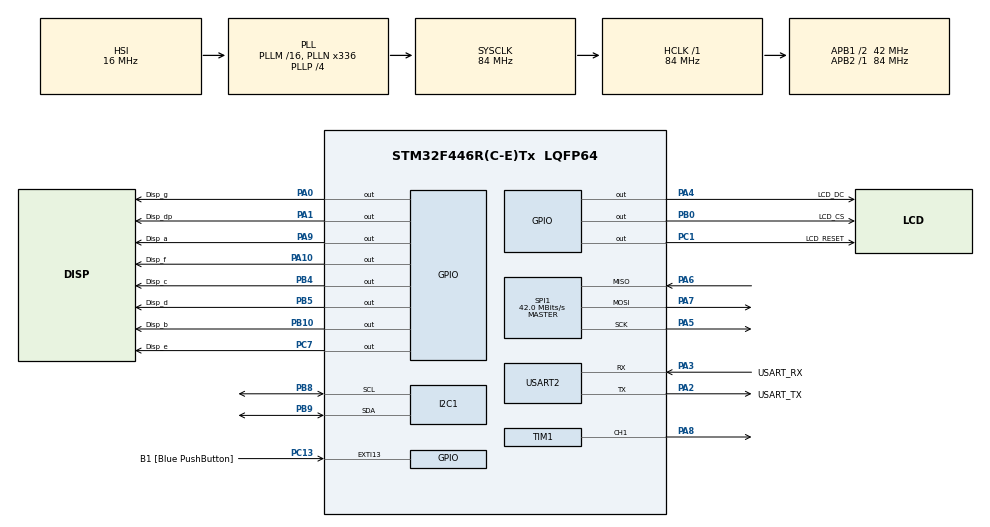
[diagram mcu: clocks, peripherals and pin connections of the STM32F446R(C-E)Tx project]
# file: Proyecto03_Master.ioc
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Dma.Request0=SPI1_TX
Dma.Request1=TIM1_CH1
Dma.SPI1_TX.0.Direction=DMA_MEMORY_TO_PERIPH
Dma.SPI1_TX.0.FIFOMode=DMA_FIFOMODE_DISABLE
Dma.SPI1_TX.0.Instance=DMA2_Stream3
Dma.SPI1_TX.0.MemDataAlignment=DMA_MDATAALIGN_BYTE
Dma.SPI1_TX.0.MemInc=DMA_MINC_ENABLE
Dma.SPI1_TX.0.Mode=DMA_NORMAL
Dma.SPI1_TX.0.PeriphDataAlignment=DMA_PDATAALIGN_BYTE
Dma.SPI1_TX.0.PeriphInc=DMA_PINC_DISABLE
Dma.SPI1_TX.0.Priority=DMA_PRIORITY_LOW
Dma.TIM1_CH1.1.Direction=DMA_MEMORY_TO_PERIPH
Dma.TIM1_CH1.1.FIFOMode=DMA_FIFOMODE_DISABLE
Dma.TIM1_CH1.1.Instance=DMA2_Stream1
Dma.TIM1_CH1.1.MemDataAlignment=DMA_MDATAALIGN_HALFWORD
Dma.TIM1_CH1.1.MemInc=DMA_MINC_ENABLE
Dma.TIM1_CH1.1.Mode=DMA_NORMAL
Dma.TIM1_CH1.1.PeriphDataAlignment=DMA_PDATAALIGN_HALFWORD
Dma.TIM1_CH1.1.PeriphInc=DMA_PINC_DISABLE
Dma.TIM1_CH1.1.Priority=DMA_PRIORITY_LOW
I2C1.OwnAddress=0x27
Mcu.Family=STM32F4
Mcu.Name=STM32F446R(C-E)Tx
Mcu.Package=LQFP64
NVIC.DMA2_Stream1_IRQn=true\:0\:0\:false\:false\:true\:false\:true\:true
NVIC.DMA2_Stream3_IRQn=true\:0\:0\:false\:false\:true\:false\:true\:true
NVIC.I2C1_ER_IRQn=true\:0\:0\:false\:false\:true\:true\:true\:true
NVIC.I2C1_EV_IRQn=true\:0\:0\:false\:false\:true\:true\:true\:true
NVIC.PriorityGroup=NVIC_PRIORITYGROUP_0
NVIC.SPI1_IRQn=true\:0\:0\:false\:false\:true\:true\:true\:true
NVIC.USART2_IRQn=true\:0\:0\:false\:false\:true\:true\:true\:true
PA0-WKUP.GPIO_Label=Disp_g
PA0-WKUP.Signal=GPIO_Output
PA1.GPIO_Label=Disp_dp
PA1.Signal=GPIO_Output
PA10.GPIO_Label=Disp_f
PA10.Signal=GPIO_Output
PA13.GPIO_Label=TMS
PA13.Mode=Serial_Wire
PA13.Signal=SYS_JTMS-SWDIO
PA14.GPIO_Label=TCK
PA14.Mode=Serial_Wire
PA14.Signal=SYS_JTCK-SWCLK
PA2.GPIO_Label=USART_TX
PA2.Mode=Asynchronous
PA2.Signal=USART2_TX
PA3.GPIO_Label=USART_RX
PA3.Mode=Asynchronous
PA3.Signal=USART2_RX
PA4.GPIO_Label=LCD_DC
PA4.GPIO_Speed=GPIO_SPEED_FREQ_MEDIUM
PA4.Signal=GPIO_Output
PA5.Mode=Full_Duplex_Master
PA5.Signal=SPI1_SCK
PA6.Mode=Full_Duplex_Master
PA6.Signal=SPI1_MISO
PA7.Mode=Full_Duplex_Master
PA7.Signal=SPI1_MOSI
PA8.Signal=S_TIM1_CH1
PA9.GPIO_Label=Disp_a
PA9.Signal=GPIO_Output
PB0.GPIO_Label=LCD_CS
PB0.GPIO_Speed=GPIO_SPEED_FREQ_MEDIUM
PB0.PinState=GPIO_PIN_SET
PB0.Signal=GPIO_Output
PB10.GPIO_Label=Disp_b
PB10.Signal=GPIO_Output
PB3.GPIO_Label=SWO
PB3.Signal=SYS_JTDO-SWO
PB4.GPIO_Label=Disp_c
PB4.Signal=GPIO_Output
PB5.GPIO_Label=Disp_d
PB5.Signal=GPIO_Output
PB8.Mode=I2C
PB8.Signal=I2C1_SCL
PB9.Mode=I2C
PB9.Signal=I2C1_SDA
PC1.GPIO_Label=LCD_RESET
PC1.GPIO_Speed=GPIO_SPEED_FREQ_MEDIUM
PC1.Signal=GPIO_Output
PC13.GPIO_Label=B1 [Blue PushButton]
PC13.GPIO_ModeDefaultEXTI=GPIO_MODE_IT_FALLING
PC13.Signal=GPXTI13
PC14-OSC32_IN.Mode=LSE-External-Oscillator
PC14-OSC32_IN.Signal=RCC_OSC32_IN
PC15-OSC32_OUT.Mode=LSE-External-Oscillator
PC15-OSC32_OUT.Signal=RCC_OSC32_OUT
PC7.GPIO_Label=Disp_e
PC7.Signal=GPIO_Output
PH0-OSC_IN.Mode=HSE-External-Oscillator
PH0-OSC_IN.Signal=RCC_OSC_IN
PH1-OSC_OUT.Mode=HSE-External-Oscillator
PH1-OSC_OUT.Signal=RCC_OSC_OUT
ProjectManager.HeapSize=0x200
ProjectManager.StackSize=0x400
ProjectManager.TargetToolchain=STM32CubeIDE
RCC.48MHZClocksFreq_Value=84000000
RCC.AHBFreq_Value=84000000
RCC.APB1CLKDivider=RCC_HCLK_DIV2
RCC.APB1Freq_Value=42000000
RCC.APB1TimFreq_Value=84000000
RCC.APB2Freq_Value=84000000
RCC.APB2TimFreq_Value=84000000
RCC.CortexFreq_Value=84000000
RCC.FLatency-AdvancedSettings=FLASH_LATENCY_2
RCC.HCLKFreq_Value=84000000
RCC.HSE_VALUE=8000000
RCC.HSI_VALUE=16000000
RCC.PLLN=336
RCC.PLLP=RCC_PLLP_DIV4
RCC.SYSCLKFreq_VALUE=84000000
RCC.SYSCLKSource=RCC_SYSCLKSOURCE_PLLCLK
RCC.USBFreq_Value=168000000
RCC.VCOOutputFreq_Value=336000000
SH.S_TIM1_CH1.0=TIM1_CH1,PWM Generation1 CH1
SPI1.CalculateBaudRate=42.0 MBits/s
SPI1.Direction=SPI_DIRECTION_2LINES
SPI1.Mode=SPI_MODE_MASTER
SPI1.VirtualType=VM_MASTER
TIM1.Channel-PWM\ Generation1\ CH1=TIM_CHANNEL_1
TIM1.Period=105-1
TIM1.Prescaler=1-1
USART2.VirtualMode=VM_ASYNC
VP_TIM1_VS_ClockSourceINT.Mode=Internal
board=NUCLEO-F446RE

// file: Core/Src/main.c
/* USER CODE BEGIN Header */
/**
  ******************************************************************************
  * @file           : main.c
  * @brief          : Main program body
  ******************************************************************************
  * @attention
  *
  * Copyright (c) 2026 STMicroelectronics.
  * All rights reserved.
  *
  * This software is licensed under terms that can be found in the LICENSE file
  * in the root directory of this software component.
  * If no LICENSE file comes with this software, it is provided AS-IS.
  *
  ******************************************************************************
  */
/* USER CODE END Header */
#include "main.h"

/* USER CODE BEGIN Includes */
#include "ili9341.h"
#include "bitmaps.h"
#include "Neopixel.h"
#include <stdio.h>
#include <stdlib.h>
/* USER CODE END Includes */

I2C_HandleTypeDef hi2c1;

SPI_HandleTypeDef hspi1;
DMA_HandleTypeDef hdma_spi1_tx;

TIM_HandleTypeDef htim1;
DMA_HandleTypeDef hdma_tim1_ch1;

UART_HandleTypeDef huart2;

/* USER CODE BEGIN PV */
// Estados lógicos del display
#define SEG_ON   GPIO_PIN_SET
#define SEG_OFF  GPIO_PIN_RESET

// Tamaño de buffers I2C
#define TXBUFFERSIZE 1
#define RXBUFFERSIZE 1

int count = 0;

// Buffers para comunicación I2C
uint8_t aTxBuffer[TXBUFFERSIZE];
uint8_t aRxBuffer[RXBUFFERSIZE];

// Estado recibido por I2C
volatile uint8_t sensor_byte_rx = 0;
volatile uint8_t i2c_rx_flag = 0;
uint8_t sensor_byte_prev = 0;

// Variables de prueba por UART
uint8_t ctrl_cmd2;
uint8_t rx_data2;

// Control del contador de parqueos
uint8_t show_num = 0;
uint8_t cont_parqueos = 8;

// Estado individual de cada parqueo
uint8_t car_state1 = 0;
uint8_t car_state2 = 0;
uint8_t car_state3 = 0;
uint8_t car_state4 = 0;
uint8_t car_state5 = 0;
uint8_t car_state6 = 0;
uint8_t car_state7 = 0;
uint8_t car_state8 = 0;

// Fondo principal de la TFT
extern const uint16_t fondo_parqueo[];

// Dimensiones de pantalla y fondo
#define LCD_W 320
#define LCD_H 240
#define FONDO_W 320
#define COLOR_TRANSPARENTE 0x738e

// Dimensiones de sprites
#define CARRO_AZUL1_W 36
#define CARRO_AZUL2_W 32
#define CARRO_AZUL3_W 25
#define CARRO_ROJO1_W 36
#define CARRO_ROJO2_W 33
#define CARRO_VERDE_W 48
#define LA_TROCONA_W 39
#define CARRO_H 60

// Buffer temporal para redibujado
#define CARRO_BUFFER_MAX_W 64
#define CARRO_BUFFER_MAX_H 100
uint16_t buffer_carro[CARRO_BUFFER_MAX_W * CARRO_BUFFER_MAX_H];

// Datos necesarios para animar un carro
typedef struct {
    int x;
    int y;
    int y_destino;
    int paso_y;

    int w;
    int h;

    const uint16_t *sprite;

    uint8_t activo;
    uint8_t visible;

    uint32_t tiempo_anterior;
    uint32_t periodo_ms;
} CarroAnimado;

// Carros asociados a los 8 espacios
CarroAnimado carro1;
CarroAnimado carro2;
CarroAnimado carro3;
CarroAnimado carro4;
CarroAnimado carro5;
CarroAnimado carro6;
CarroAnimado carro7;
CarroAnimado carro8;
/* USER CODE END PV */

void SystemClock_Config(void);
static void MX_GPIO_Init(void);
static void MX_DMA_Init(void);
static void MX_SPI1_Init(void);
static void MX_USART2_UART_Init(void);
static void MX_TIM1_Init(void);
static void MX_I2C1_Init(void);
/* USER CODE BEGIN PFP */
// Funciones agregadas para animación y parqueos
void IniciarCarro(CarroAnimado *c, int x, int y_inicio, int y_destino, int paso_y,
                  int w, int h, const uint16_t *sprite, uint32_t periodo_ms);
void ActualizarCarro(CarroAnimado *c);
void BorrarCarro(CarroAnimado *c);
void DibujarCarroCompuesto(CarroAnimado *c, int nueva_y);
void ProcesarCambioParqueo(uint8_t cmd);

/* USER CODE END PFP */

/* USER CODE BEGIN 0 */
// Restaura el fondo donde estaba el carro
void BorrarCarro(CarroAnimado *c)
{
    int x0 = c->x;
    int y0 = c->y;
    int x1 = c->x + c->w - 1;
    int y1 = c->y + c->h - 1;

    // Recorte contra pantalla
    if (x0 < 0) x0 = 0;
    if (y0 < 0) y0 = 0;
    if (x1 >= LCD_W) x1 = LCD_W - 1;
    if (y1 >= LCD_H) y1 = LCD_H - 1;

    if (x0 > x1 || y0 > y1) return;

    int bw = x1 - x0 + 1;
    int bh = y1 - y0 + 1;

    if (bw > CARRO_BUFFER_MAX_W || bh > CARRO_BUFFER_MAX_H) return;

    int k = 0;

    for (int py = y0; py <= y1; py++)
    {
        for (int px = x0; px <= x1; px++)
        {
            buffer_carro[k++] = fondo_parqueo[(py * FONDO_W) + px];
        }
    }

    LCD_Bitmap(x0, y0, bw, bh, buffer_carro);
}

// Redibuja solo el área afectada
void DibujarCarroCompuesto(CarroAnimado *c, int nueva_y)
{
    int vieja_y = c->y;

    // Área total a actualizar: posición vieja + posición nueva
    int x0 = c->x;
    int y0 = (vieja_y < nueva_y) ? vieja_y : nueva_y;

    int x1 = c->x + c->w - 1;

    int vieja_y_final = vieja_y + c->h - 1;
    int nueva_y_final = nueva_y + c->h - 1;
    int y1 = (vieja_y_final > nueva_y_final) ? vieja_y_final : nueva_y_final;

    // Recorte contra pantalla
    if (x0 < 0) x0 = 0;
    if (y0 < 0) y0 = 0;
    if (x1 >= LCD_W) x1 = LCD_W - 1;
    if (y1 >= LCD_H) y1 = LCD_H - 1;

    if (x0 > x1 || y0 > y1) return;

    int bw = x1 - x0 + 1;
    int bh = y1 - y0 + 1;

    if (bw > CARRO_BUFFER_MAX_W || bh > CARRO_BUFFER_MAX_H) return;

    int k = 0;

    for (int py = y0; py <= y1; py++)
    {
        for (int px = x0; px <= x1; px++)
        {
            // Primero se coloca el fondo
            uint16_t color = fondo_parqueo[(py * FONDO_W) + px];

            // Luego se revisa si este pixel cae dentro del carro nuevo
            int sx = px - c->x;
            int sy = py - nueva_y;

            if (sx >= 0 && sx < c->w && sy >= 0 && sy < c->h)
            {
                uint16_t pixel_sprite = c->sprite[(sy * c->w) + sx];

                if (pixel_sprite != COLOR_TRANSPARENTE)
                {
                    color = pixel_sprite;
                }
            }

            buffer_carro[k++] = color;
        }
    }

    // Una sola escritura a pantalla: fondo + carro ya mezclados
    LCD_Bitmap(x0, y0, bw, bh, buffer_carro);
}

// Configura una entrada o salida de carro
void IniciarCarro(CarroAnimado *c, int x, int y_inicio, int y_destino, int paso_y,
                  int w, int h, const uint16_t *sprite, uint32_t periodo_ms)
{
    if (c->visible)
    {
        BorrarCarro(c);
    }

    c->x = x;
    c->y = y_inicio;
    c->y_destino = y_destino;
    c->paso_y = paso_y;

    c->w = w;
    c->h = h;
    c->sprite = sprite;

    c->activo = 1;
    c->visible = 1;

    c->tiempo_anterior = HAL_GetTick();
    c->periodo_ms = periodo_ms;
}

// Avanza la animación por tiempo
void ActualizarCarro(CarroAnimado *c)
{
    if (!c->activo) return;

    uint32_t ahora = HAL_GetTick();

    if (ahora - c->tiempo_anterior < c->periodo_ms)
    {
        return;
    }

    c->tiempo_anterior = ahora;

    int nueva_y = c->y + c->paso_y;

    // Detener exactamente en la posición deseada
    if (c->paso_y > 0 && nueva_y >= c->y_destino)
    {
        nueva_y = c->y_destino;
        c->activo = 0;
    }
    else if (c->paso_y < 0 && nueva_y <= c->y_destino)
    {
        nueva_y = c->y_destino;
        c->activo = 0;
    }

    DibujarCarroCompuesto(c, nueva_y);

    c->y = nueva_y;
}

// Aplica el cambio de estado de un parqueo
void ProcesarCambioParqueo(uint8_t cmd)
{
    switch(cmd)
	    	    {
	    	        case '1':
	    	            if (car_state1 == 0){
	    	            	IniciarCarro(&carro1,
	    	                         22,          // x
	    	                         -CARRO_H,     // y inicial fuera de pantalla arriba
	    	                         40,           // y destino
	    	                         1,            // paso en y
	    	                         CARRO_AZUL1_W,
	    	                         CARRO_H,
	    	                         carro_azul1,
	    	                         25);          // periodo de movimiento
	    	            	car_state1 = 1;
	    	            	cont_parqueos--;
	    	            	show_num = 1;
	    	            	setPixelColor(0, 255, 0, 0); // Rojo
	    	            	setBrightness(100);
	    	            	pixelShow();
	    	            }
	    	            else if (car_state1 == 1){
	    	            	IniciarCarro(&carro1,
	    	                         22,          // x
	    	                         40,     // y inicial fuera de pantalla arriba
	    	                         -CARRO_H,           // y destino
	    	                         -1,            // paso en y
	    	                         CARRO_AZUL1_W,
	    	                         CARRO_H,
	    	                         carro_azul1,
	    	                         25);          // periodo de movimiento
	    	            	car_state1 = 0;
	    	            	cont_parqueos++;
	    	            	show_num = 1;
	    	            	setPixelColor(0, 0, 255, 0); // Verde
	    	            	setBrightness(100);
	    	            	pixelShow();
	    	            }
	    	            break;

	    	        case '2':
	    	            if (car_state2 == 0){
	    	            	IniciarCarro(&carro2,
	    	                         78,          // x
	    	                         -CARRO_H,     // y inicial fuera de pantalla arriba
	    	                         40,           // y destino
	    	                         1,            // paso en y
	    	                         CARRO_ROJO1_W,
	    	                         CARRO_H,
	    	                         carro_rojo1,
	    	                         25);          // periodo de movimiento
	    	            	car_state2 = 1;
	    	            	cont_parqueos--;
	    	            	show_num = 1;
	    	            	setPixelColor(1, 255, 0, 0); // Rojo
	    	            	setBrightness(100);
	    	            	pixelShow();
	    	            }
	    	            else if (car_state2 == 1){
	    	            	IniciarCarro(&carro2,
	    	                         78,          // x
	    	                         40,     // y inicial fuera de pantalla arriba
	    	                         -CARRO_H,           // y destino
	    	                         -1,            // paso en y
	    	                         CARRO_ROJO1_W,
	    	                         CARRO_H,
	    	                         carro_rojo1,
	    	                         25);          // periodo de movimiento
	    	            	car_state2 = 0;
	    	            	cont_parqueos++;
	    	            	show_num = 1;
	    	            	setPixelColor(1, 0, 255, 0); // Verde
	    	            	setBrightness(100);
	    	            	pixelShow();
	    	            }
	    	            break;

	    	        case '3':
	    	        	if (car_state3 == 0){
	    	            	IniciarCarro(&carro3,
	    	                         131,          // x
	    	                         -CARRO_H,     // y inicial fuera de pantalla arriba
	    	                         40,           // y destino
	    	                         1,            // paso en y
	    	                         LA_TROCONA_W,
	    	                         CARRO_H,
	    	                         la_trocona,
	    	                         25);          // periodo de movimiento
	    	            	car_state3 = 1;
	    	            	cont_parqueos--;
	    	            	show_num = 1;
	    	            	setPixelColor(2, 255, 0, 0); // Rojo
	    	            	setBrightness(100);
	    	            	pixelShow();
	    	            }
	    	            else if (car_state3 == 1){
	    	            	IniciarCarro(&carro3,
	    	                         131,          // x
	    	                         40,     // y inicial fuera de pantalla arriba
	    	                         -CARRO_H,           // y destino
	    	                         -1,            // paso en y
	    							 LA_TROCONA_W,
	    	                         CARRO_H,
	    							 la_trocona,
	    	                         25);          // periodo de movimiento
	    	            	car_state3 = 0;
	    	            	cont_parqueos++;
	    	            	show_num = 1;
	    	            	setPixelColor(2, 0, 255, 0); // Verde
	    	            	setBrightness(100);
	    	            	pixelShow();
	    	            }
	    	            break;

	    	        case '4':
	    	        	if (car_state4 == 0){
	    	            	IniciarCarro(&carro4,
	    	                         182,          // x
	    	                         -CARRO_H,     // y inicial fuera de pantalla arriba
	    	                         40,           // y destino
	    	                         1,            // paso en y
	    	                         CARRO_VERDE_W,
	    	                         CARRO_H,
	    	                         carro_verde,
	    	                         25);          // periodo de movimiento
	    	            	car_state4 = 1;
	    	            	cont_parqueos--;
	    	            	show_num = 1;
	    	            	setPixelColor(3, 255, 0, 0); // Rojo
	    	            	setBrightness(100);
	    	            	pixelShow();
	    	            }
	    	            else if (car_state4 == 1){
	    	            	IniciarCarro(&carro4,
	    	                         182,          // x
	    	                         40,     // y inicial fuera de pantalla arriba
	    	                         -CARRO_H,           // y destino
	    	                         -1,            // paso en y
	    							 CARRO_VERDE_W,
	    	                         CARRO_H,
	    							 carro_verde,
	    	                         25);          // periodo de movimiento
	    	            	car_state4 = 0;
	    	            	cont_parqueos++;
	    	            	show_num = 1;
	    	            	setPixelColor(3, 0, 255, 0); // Verde
	    	            	setBrightness(100);
	    	            	pixelShow();
	    	            }
	    	            break;

	    	        case '5':
	    	        	if (car_state5 == 0){
	    	            	IniciarCarro(&carro5,
	    	                         18,          // x
	    	                         LCD_H,     // y inicial fuera de pantalla arriba
	    	                         138,           // y destino
	    	                         -1,            // paso en y
	    	                         CARRO_VERDE_W,
	    	                         CARRO_H,
	    	                         carro_verde,
	    	                         25);          // periodo de movimiento
	    	            	car_state5 = 1;
	    	            	cont_parqueos--;
	    	            	show_num = 1;
	    	            	setPixelColor(7, 255, 0, 0); // Rojo
	    	            	setBrightness(100);
	    	            	pixelShow();
	    	            }
	    	            else if (car_state5 == 1){
	    	            	IniciarCarro(&carro5,
	    	                         18,          // x
	    	                         138,     // y inicial fuera de pantalla arriba
	    							 LCD_H,           // y destino
	    	                         1,            // paso en y
	    							 CARRO_VERDE_W,
	    	                         CARRO_H,
	    							 carro_verde,
	    	                         25);          // periodo de movimiento
	    	            	car_state5 = 0;
	    	            	cont_parqueos++;
	    	            	show_num = 1;
	    	            	setPixelColor(7, 0, 255, 0); // Verde
	    	            	setBrightness(100);
	    	            	pixelShow();
	    	            }
	    	            break;

	    	        case '6':
	    	        	if (car_state6 == 0){
	    	            	IniciarCarro(&carro6,
	    	                         80,          // x
	    							 LCD_H,     // y inicial fuera de pantalla arriba
	    	                         138,           // y destino
	    	                         -1,            // paso en y
	    	                         CARRO_AZUL2_W,
	    	                         CARRO_H,
	    	                         carro_azul2,
	    	                         25);          // periodo de movimiento
	    	            	car_state6 = 1;
	    	            	cont_parqueos--;
	    	            	show_num = 1;
	    	            	setPixelColor(6, 255, 0, 0); // Rojo
	    	            	setBrightness(100);
	    	            	pixelShow();
	    	            }
	    	            else if (car_state6 == 1){
	    	            	IniciarCarro(&carro6,
	    	                         80,          // x
	    	                         138,     // y inicial fuera de pantalla arriba
	    							 LCD_H,           // y destino
	    	                         1,            // paso en y
	    							 CARRO_AZUL2_W,
	    	                         CARRO_H,
	    							 carro_azul2,
	    	                         25);          // periodo de movimiento
	    	            	car_state6 = 0;
	    	            	cont_parqueos++;
	    	            	show_num = 1;
	    	            	setPixelColor(6, 0, 255, 0); // Verde
	    	            	setBrightness(100);
	    	            	pixelShow();
	    	            }
	    	            break;

	    	        case '7':
	    	        	if (car_state7 == 0){
	    	            	IniciarCarro(&carro7,
	    	            			 134,          // x
	    							 LCD_H,     // y inicial fuera de pantalla arriba
	    	                         138,           // y destino
	    	                         -1,            // paso en y
	    	                         CARRO_ROJO2_W,
	    	                         CARRO_H,
	    	                         carro_rojo2,
	    	                         25);          // periodo de movimiento
	    	            	car_state7 = 1;
	    	            	cont_parqueos--;
	    	            	show_num = 1;
	    	            	setPixelColor(5, 255, 0, 0); // Rojo
	    	            	setBrightness(100);
	    	            	pixelShow();
	    	            }
	    	            else if (car_state7 == 1){
	    	            	IniciarCarro(&carro7,
	    	                         134,          // x
	    	                         138,     // y inicial fuera de pantalla arriba
	    							 LCD_H,           // y destino
	    	                         1,            // paso en y
	    							 CARRO_ROJO2_W,
	    	                         CARRO_H,
	    							 carro_rojo2,
	    	                         25);          // periodo de movimiento
	    	            	car_state7 = 0;
	    	            	cont_parqueos++;
	    	            	show_num = 1;
	    	            	setPixelColor(5, 0, 255, 0); // Verde
	    	            	setBrightness(100);
	    	            	pixelShow();
	    	            }
	    	            break;

	    	        case '8':
	    	        	if (car_state8 == 0){
	    	            	IniciarCarro(&carro8,
	    	            			 190,          // x
	    							 LCD_H,     // y inicial fuera de pantalla arriba
	    	                         138,           // y destino
	    	                         -1,            // paso en y
	    	                         CARRO_AZUL3_W,
	    	                         CARRO_H,
	    	                         carro_azul3,
	    	                         25);          // periodo de movimiento
	    	            	car_state8 = 1;
	    	            	cont_parqueos--;
	    	            	show_num = 1;
	    	            	setPixelColor(4, 255, 0, 0); // Rojo
	    	            	setBrightness(100);
	    	            	pixelShow();
	    	            }
	    	            else if (car_state8 == 1){
	    	            	IniciarCarro(&carro8,
	    	                         190,          // x
	    	                         138,     // y inicial fuera de pantalla arriba
	    							 LCD_H,           // y destino
	    	                         1,            // paso en y
	    							 CARRO_AZUL3_W,
	    	                         CARRO_H,
	    							 carro_azul3,
	    	                         25);          // periodo de movimiento
	    	            	car_state8 = 0;
	    	            	cont_parqueos++;
	    	            	show_num = 1;
	    	            	setPixelColor(4, 0, 255, 0); // Verde
	    	            	setBrightness(100);
	    	            	pixelShow();
	    	            }
	    	            break;
	    	    }
}

// Escribe los segmentos físicos del display
static void Display7Seg_Write(uint8_t a, uint8_t b, uint8_t c, uint8_t d,
                              uint8_t e, uint8_t f, uint8_t g, uint8_t dp)
{
    HAL_GPIO_WritePin(GPIOA, GPIO_PIN_9,  a  ? SEG_ON : SEG_OFF); // a
    HAL_GPIO_WritePin(GPIOB, GPIO_PIN_10, b  ? SEG_ON : SEG_OFF); // b
    HAL_GPIO_WritePin(GPIOB, GPIO_PIN_4,  c  ? SEG_ON : SEG_OFF); // c
    HAL_GPIO_WritePin(GPIOB, GPIO_PIN_5,  d  ? SEG_ON : SEG_OFF); // d
    HAL_GPIO_WritePin(GPIOC, GPIO_PIN_7,  e  ? SEG_ON : SEG_OFF); // e
    HAL_GPIO_WritePin(GPIOA, GPIO_PIN_10, f  ? SEG_ON : SEG_OFF); // f
    HAL_GPIO_WritePin(GPIOA, GPIO_PIN_0,  g  ? SEG_ON : SEG_OFF); // g
    HAL_GPIO_WritePin(GPIOA, GPIO_PIN_1,  dp ? SEG_ON : SEG_OFF); // dp
}

// Apaga todos los segmentos
void Display7Seg_Clear(void)
{
    Display7Seg_Write(0, 0, 0, 0, 0, 0, 0, 0);
}

// Muestra un dígito en el display
void Display7Seg_ShowDigit(uint8_t num)
{
    switch (num)
    {
        case 0:
            Display7Seg_Write(1, 1, 1, 1, 1, 1, 0, 0);
            break;

        case 1:
            Display7Seg_Write(0, 1, 1, 0, 0, 0, 0, 0);
            break;

        case 2:
            Display7Seg_Write(1, 1, 0, 1, 1, 0, 1, 0);
            break;

        case 3:
            Display7Seg_Write(1, 1, 1, 1, 0, 0, 1, 0);
            break;

        case 4:
            Display7Seg_Write(0, 1, 1, 0, 0, 1, 1, 0);
            break;

        case 5:
            Display7Seg_Write(1, 0, 1, 1, 0, 1, 1, 0);
            break;

        case 6:
            Display7Seg_Write(1, 0, 1, 1, 1, 1, 1, 0);
            break;

        case 7:
            Display7Seg_Write(1, 1, 1, 0, 0, 0, 0, 0);
            break;

        case 8:
            Display7Seg_Write(1, 1, 1, 1, 1, 1, 1, 0);
            break;

        case 9:
            Display7Seg_Write(1, 1, 1, 1, 0, 1, 1, 0);
            break;

        default:
            Display7Seg_Clear();
            break;
    }
}
/* USER CODE END 0 */

int main(void)
{

  /* MCU Configuration--------------------------------------------------------*/

  /* Reset of all peripherals, Initializes the Flash interface and the Systick. */
  HAL_Init();

  /* Configure the system clock */
  SystemClock_Config();

  /* Initialize all configured peripherals */
  MX_GPIO_Init();
  MX_DMA_Init();
  MX_SPI1_Init();
  MX_USART2_UART_Init();
  MX_TIM1_Init();
  MX_I2C1_Init();
  /* USER CODE BEGIN 2 */
  // Inicialización de buffers y banderas
  aTxBuffer[0] = 0;
  aRxBuffer[0] = 0;
  sensor_byte_rx = 0;
  i2c_rx_flag = 0;

  	  // Habilita la escucha I2C
  	  if (HAL_I2C_EnableListen_IT(&hi2c1) != HAL_OK){
  		  Error_Handler();
  	  }

  HAL_UART_Receive_IT(&huart2, &rx_data2, 1);

  // Inicialización de NeoPixels
  pixelClear();
  setPixelColor(0, 0, 255, 0); // Rojo
  setPixelColor(1, 0, 255, 0); // Verde
  setPixelColor(2, 0, 255, 0);
  setPixelColor(3, 0, 255, 0);

  setPixelColor(4, 0, 255, 0); // Rojo
  setPixelColor(5, 0, 255, 0); // Verde
  setPixelColor(6, 0, 255, 0);
  setPixelColor(7, 0, 255, 0);

  setBrightness(100);
  pixelShow();

  // Inicialización de la TFT
  LCD_Init();
  LCD_Clear(0x738e);

  LCD_Bitmap(0, 0, 320, 240, fondo_parqueo);

  // Muestra los espacios libres iniciales
  Display7Seg_ShowDigit(cont_parqueos);
  show_num = 1;
  /* USER CODE END 2 */

  /* Infinite loop */
  while (1)
  {

    /* USER CODE BEGIN 3 */
	  // Actualiza las animaciones activas
	  ActualizarCarro(&carro1);
	  ActualizarCarro(&carro2);
	  ActualizarCarro(&carro3);
	  ActualizarCarro(&carro4);
	  ActualizarCarro(&carro5);
	  ActualizarCarro(&carro6);
	  ActualizarCarro(&carro7);
	  ActualizarCarro(&carro8);

	    // Actualiza el contador si cambió
	    if (show_num == 1){
	    	switch(cont_parqueos){
	    	case 0:
	    		Display7Seg_ShowDigit(cont_parqueos);
	    		LCD_Bitmap(238, 50, 80, 149, cero);
		    	show_num = 0;
	    	break;

	    	case 1:
	    		Display7Seg_ShowDigit(cont_parqueos);
	    		LCD_Bitmap(238, 50, 80, 149, uno);
		    	show_num = 0;
	    	break;

	    	case 2:
	    		Display7Seg_ShowDigit(cont_parqueos);
	    		LCD_Bitmap(238, 50, 80, 149, dos);
		    	show_num = 0;
	    	break;

	    	case 3:
	    		Display7Seg_ShowDigit(cont_parqueos);
	    		LCD_Bitmap(238, 50, 80, 149, tres);
		    	show_num = 0;
	    	break;

	    	case 4:
	    		Display7Seg_ShowDigit(cont_parqueos);
	    		LCD_Bitmap(238, 50, 80, 149, cuatro);
		    	show_num = 0;
	    	break;

	    	case 5:
	    		Display7Seg_ShowDigit(cont_parqueos);
	    		LCD_Bitmap(238, 50, 80, 149, cinco);
		    	show_num = 0;
	    	break;

	    	case 6:
	    		Display7Seg_ShowDigit(cont_parqueos);
	    		LCD_Bitmap(238, 50, 80, 149, seis);
		    	show_num = 0;
	    	break;

	    	case 7:
	    		Display7Seg_ShowDigit(cont_parqueos);
	    		LCD_Bitmap(238, 50, 80, 149, siete);
		    	show_num = 0;
	    	break;

	    	case 8:
	    		Display7Seg_ShowDigit(cont_parqueos);
	    		LCD_Bitmap(238, 50, 80, 149, ocho);
		    	show_num = 0;
	    	break;
	    	}
	    }

	    // Procesa el byte recibido por I2C
	    if (i2c_rx_flag)
	    {
	        i2c_rx_flag = 0;

	        uint8_t cambios = sensor_byte_rx ^ sensor_byte_prev;

	        for (uint8_t i = 0; i < 8; i++)
	        {
	            if (cambios & (1 << i))
	            {
	                ProcesarCambioParqueo('1' + i);
	            }
	        }

	        sensor_byte_prev = sensor_byte_rx;
	    }
  }
  /* USER CODE END 3 */
}

void SystemClock_Config(void)
{
  RCC_OscInitTypeDef RCC_OscInitStruct = {0};
  RCC_ClkInitTypeDef RCC_ClkInitStruct = {0};

  /** Configure the main internal regulator output voltage
  */
  __HAL_RCC_PWR_CLK_ENABLE();
  __HAL_PWR_VOLTAGESCALING_CONFIG(PWR_REGULATOR_VOLTAGE_SCALE3);

  /** Initializes the RCC Oscillators according to the specified parameters
  * in the RCC_OscInitTypeDef structure.
  */
  RCC_OscInitStruct.OscillatorType = RCC_OSCILLATORTYPE_HSI;
  RCC_OscInitStruct.HSIState = RCC_HSI_ON;
  RCC_OscInitStruct.HSICalibrationValue = RCC_HSICALIBRATION_DEFAULT;
  RCC_OscInitStruct.PLL.PLLState = RCC_PLL_ON;
  RCC_OscInitStruct.PLL.PLLSource = RCC_PLLSOURCE_HSI;
  RCC_OscInitStruct.PLL.PLLM = 16;
  RCC_OscInitStruct.PLL.PLLN = 336;
  RCC_OscInitStruct.PLL.PLLP = RCC_PLLP_DIV4;
  RCC_OscInitStruct.PLL.PLLQ = 2;
  RCC_OscInitStruct.PLL.PLLR = 2;
  if (HAL_RCC_OscConfig(&RCC_OscInitStruct) != HAL_OK)
  {
    Error_Handler();
  }

  /** Initializes the CPU, AHB and APB buses clocks
  */
  RCC_ClkInitStruct.ClockType = RCC_CLOCKTYPE_HCLK|RCC_CLOCKTYPE_SYSCLK
                              |RCC_CLOCKTYPE_PCLK1|RCC_CLOCKTYPE_PCLK2;
  RCC_ClkInitStruct.SYSCLKSource = RCC_SYSCLKSOURCE_PLLCLK;
  RCC_ClkInitStruct.AHBCLKDivider = RCC_SYSCLK_DIV1;
  RCC_ClkInitStruct.APB1CLKDivider = RCC_HCLK_DIV2;
  RCC_ClkInitStruct.APB2CLKDivider = RCC_HCLK_DIV1;

  if (HAL_RCC_ClockConfig(&RCC_ClkInitStruct, FLASH_LATENCY_2) != HAL_OK)
  {
    Error_Handler();
  }
}

static void MX_I2C1_Init(void)
{

  hi2c1.Instance = I2C1;
  hi2c1.Init.ClockSpeed = 100000;
  hi2c1.Init.DutyCycle = I2C_DUTYCYCLE_2;
  hi2c1.Init.OwnAddress1 = 78;
  hi2c1.Init.AddressingMode = I2C_ADDRESSINGMODE_7BIT;
  hi2c1.Init.DualAddressMode = I2C_DUALADDRESS_DISABLE;
  hi2c1.Init.OwnAddress2 = 0;
  hi2c1.Init.GeneralCallMode = I2C_GENERALCALL_DISABLE;
  hi2c1.Init.NoStretchMode = I2C_NOSTRETCH_DISABLE;
  if (HAL_I2C_Init(&hi2c1) != HAL_OK)
  {
    Error_Handler();
  }

}

static void MX_SPI1_Init(void)
{

  /* SPI1 parameter configuration*/
  hspi1.Instance = SPI1;
  hspi1.Init.Mode = SPI_MODE_MASTER;
  hspi1.Init.Direction = SPI_DIRECTION_2LINES;
  hspi1.Init.DataSize = SPI_DATASIZE_8BIT;
  hspi1.Init.CLKPolarity = SPI_POLARITY_LOW;
  hspi1.Init.CLKPhase = SPI_PHASE_1EDGE;
  hspi1.Init.NSS = SPI_NSS_SOFT;
  hspi1.Init.BaudRatePrescaler = SPI_BAUDRATEPRESCALER_2;
  hspi1.Init.FirstBit = SPI_FIRSTBIT_MSB;
  hspi1.Init.TIMode = SPI_TIMODE_DISABLE;
  hspi1.Init.CRCCalculation = SPI_CRCCALCULATION_DISABLE;
  hspi1.Init.CRCPolynomial = 10;
  if (HAL_SPI_Init(&hspi1) != HAL_OK)
  {
    Error_Handler();
  }

}

static void MX_TIM1_Init(void)
{

  TIM_ClockConfigTypeDef sClockSourceConfig = {0};
  TIM_MasterConfigTypeDef sMasterConfig = {0};
  TIM_OC_InitTypeDef sConfigOC = {0};
  TIM_BreakDeadTimeConfigTypeDef sBreakDeadTimeConfig = {0};

  htim1.Instance = TIM1;
  htim1.Init.Prescaler = 1-1;
  htim1.Init.CounterMode = TIM_COUNTERMODE_UP;
  htim1.Init.Period = 105-1;
  htim1.Init.ClockDivision = TIM_CLOCKDIVISION_DIV1;
  htim1.Init.RepetitionCounter = 0;
  htim1.Init.AutoReloadPreload = TIM_AUTORELOAD_PRELOAD_DISABLE;
  if (HAL_TIM_Base_Init(&htim1) != HAL_OK)
  {
    Error_Handler();
  }
  sClockSourceConfig.ClockSource = TIM_CLOCKSOURCE_INTERNAL;
  if (HAL_TIM_ConfigClockSource(&htim1, &sClockSourceConfig) != HAL_OK)
  {
    Error_Handler();
  }
  if (HAL_TIM_PWM_Init(&htim1) != HAL_OK)
  {
    Error_Handler();
  }
  sMasterConfig.MasterOutputTrigger = TIM_TRGO_RESET;
  sMasterConfig.MasterSlaveMode = TIM_MASTERSLAVEMODE_DISABLE;
  if (HAL_TIMEx_MasterConfigSynchronization(&htim1, &sMasterConfig) != HAL_OK)
  {
    Error_Handler();
  }
  sConfigOC.OCMode = TIM_OCMODE_PWM1;
  sConfigOC.Pulse = 0;
  sConfigOC.OCPolarity = TIM_OCPOLARITY_HIGH;
  sConfigOC.OCNPolarity = TIM_OCNPOLARITY_HIGH;
  sConfigOC.OCFastMode = TIM_OCFAST_DISABLE;
  sConfigOC.OCIdleState = TIM_OCIDLESTATE_RESET;
  sConfigOC.OCNIdleState = TIM_OCNIDLESTATE_RESET;
  if (HAL_TIM_PWM_ConfigChannel(&htim1, &sConfigOC, TIM_CHANNEL_1) != HAL_OK)
  {
    Error_Handler();
  }
  sBreakDeadTimeConfig.OffStateRunMode = TIM_OSSR_DISABLE;
  sBreakDeadTimeConfig.OffStateIDLEMode = TIM_OSSI_DISABLE;
  sBreakDeadTimeConfig.LockLevel = TIM_LOCKLEVEL_OFF;
  sBreakDeadTimeConfig.DeadTime = 0;
  sBreakDeadTimeConfig.BreakState = TIM_BREAK_DISABLE;
  sBreakDeadTimeConfig.BreakPolarity = TIM_BREAKPOLARITY_HIGH;
  sBreakDeadTimeConfig.AutomaticOutput = TIM_AUTOMATICOUTPUT_DISABLE;
  if (HAL_TIMEx_ConfigBreakDeadTime(&htim1, &sBreakDeadTimeConfig) != HAL_OK)
  {
    Error_Handler();
  }
  HAL_TIM_MspPostInit(&htim1);

}

static void MX_USART2_UART_Init(void)
{

  huart2.Instance = USART2;
  huart2.Init.BaudRate = 115200;
  huart2.Init.WordLength = UART_WORDLENGTH_8B;
  huart2.Init.StopBits = UART_STOPBITS_1;
  huart2.Init.Parity = UART_PARITY_NONE;
  huart2.Init.Mode = UART_MODE_TX_RX;
  huart2.Init.HwFlowCtl = UART_HWCONTROL_NONE;
  huart2.Init.OverSampling = UART_OVERSAMPLING_16;
  if (HAL_UART_Init(&huart2) != HAL_OK)
  {
    Error_Handler();
  }

}

static void MX_DMA_Init(void)
{

  /* DMA controller clock enable */
  __HAL_RCC_DMA2_CLK_ENABLE();

  /* DMA interrupt init */
  /* DMA2_Stream1_IRQn interrupt configuration */
  HAL_NVIC_SetPriority(DMA2_Stream1_IRQn, 0, 0);
  HAL_NVIC_EnableIRQ(DMA2_Stream1_IRQn);
  /* DMA2_Stream3_IRQn interrupt configuration */
  HAL_NVIC_SetPriority(DMA2_Stream3_IRQn, 0, 0);
  HAL_NVIC_EnableIRQ(DMA2_Stream3_IRQn);

}

static void MX_GPIO_Init(void)
{
  GPIO_InitTypeDef GPIO_InitStruct = {0};

  /* GPIO Ports Clock Enable */
  __HAL_RCC_GPIOC_CLK_ENABLE();
  __HAL_RCC_GPIOH_CLK_ENABLE();
  __HAL_RCC_GPIOA_CLK_ENABLE();
  __HAL_RCC_GPIOB_CLK_ENABLE();

  /*Configure GPIO pin Output Level */
  HAL_GPIO_WritePin(GPIOC, LCD_RESET_Pin|Disp_e_Pin, GPIO_PIN_RESET);

  /*Configure GPIO pin Output Level */
  HAL_GPIO_WritePin(GPIOA, Disp_g_Pin|Disp_dp_Pin|LCD_DC_Pin|Disp_a_Pin
                          |Disp_f_Pin, GPIO_PIN_RESET);

  /*Configure GPIO pin Output Level */
  HAL_GPIO_WritePin(LCD_CS_GPIO_Port, LCD_CS_Pin, GPIO_PIN_SET);

  /*Configure GPIO pin Output Level */
  HAL_GPIO_WritePin(GPIOB, Disp_b_Pin|Disp_c_Pin|Disp_d_Pin, GPIO_PIN_RESET);

  /*Configure GPIO pin : B1_Pin */
  GPIO_InitStruct.Pin = B1_Pin;
  GPIO_InitStruct.Mode = GPIO_MODE_IT_FALLING;
  GPIO_InitStruct.Pull = GPIO_NOPULL;
  HAL_GPIO_Init(B1_GPIO_Port, &GPIO_InitStruct);

  /*Configure GPIO pin : LCD_RESET_Pin */
  GPIO_InitStruct.Pin = LCD_RESET_Pin;
  GPIO_InitStruct.Mode = GPIO_MODE_OUTPUT_PP;
  GPIO_InitStruct.Pull = GPIO_NOPULL;
  GPIO_InitStruct.Speed = GPIO_SPEED_FREQ_MEDIUM;
  HAL_GPIO_Init(LCD_RESET_GPIO_Port, &GPIO_InitStruct);

  /*Configure GPIO pins : Disp_g_Pin Disp_dp_Pin Disp_a_Pin Disp_f_Pin */
  GPIO_InitStruct.Pin = Disp_g_Pin|Disp_dp_Pin|Disp_a_Pin|Disp_f_Pin;
  GPIO_InitStruct.Mode = GPIO_MODE_OUTPUT_PP;
  GPIO_InitStruct.Pull = GPIO_NOPULL;
  GPIO_InitStruct.Speed = GPIO_SPEED_FREQ_LOW;
  HAL_GPIO_Init(GPIOA, &GPIO_InitStruct);

  /*Configure GPIO pin : LCD_DC_Pin */
  GPIO_InitStruct.Pin = LCD_DC_Pin;
  GPIO_InitStruct.Mode = GPIO_MODE_OUTPUT_PP;
  GPIO_InitStruct.Pull = GPIO_NOPULL;
  GPIO_InitStruct.Speed = GPIO_SPEED_FREQ_MEDIUM;
  HAL_GPIO_Init(LCD_DC_GPIO_Port, &GPIO_InitStruct);

  /*Configure GPIO pin : LCD_CS_Pin */
  GPIO_InitStruct.Pin = LCD_CS_Pin;
  GPIO_InitStruct.Mode = GPIO_MODE_OUTPUT_PP;
  GPIO_InitStruct.Pull = GPIO_NOPULL;
  GPIO_InitStruct.Speed = GPIO_SPEED_FREQ_MEDIUM;
  HAL_GPIO_Init(LCD_CS_GPIO_Port, &GPIO_InitStruct);

  /*Configure GPIO pins : Disp_b_Pin Disp_c_Pin Disp_d_Pin */
  GPIO_InitStruct.Pin = Disp_b_Pin|Disp_c_Pin|Disp_d_Pin;
  GPIO_InitStruct.Mode = GPIO_MODE_OUTPUT_PP;
  GPIO_InitStruct.Pull = GPIO_NOPULL;
  GPIO_InitStruct.Speed = GPIO_SPEED_FREQ_LOW;
  HAL_GPIO_Init(GPIOB, &GPIO_InitStruct);

  /*Configure GPIO pin : Disp_e_Pin */
  GPIO_InitStruct.Pin = Disp_e_Pin;
  GPIO_InitStruct.Mode = GPIO_MODE_OUTPUT_PP;
  GPIO_InitStruct.Pull = GPIO_NOPULL;
  GPIO_InitStruct.Speed = GPIO_SPEED_FREQ_LOW;
  HAL_GPIO_Init(Disp_e_GPIO_Port, &GPIO_InitStruct);

  /* USER CODE BEGIN MX_GPIO_Init_2 */
  // Pines exactos del display de 7 segmentos
  GPIO_InitStruct.Mode = GPIO_MODE_OUTPUT_PP;
  GPIO_InitStruct.Pull = GPIO_NOPULL;
  GPIO_InitStruct.Speed = GPIO_SPEED_FREQ_LOW;

  // PC9 = a, PC7 = e
  GPIO_InitStruct.Pin = GPIO_PIN_9 | GPIO_PIN_7;
  HAL_GPIO_Init(GPIOC, &GPIO_InitStruct);

  // PB10 = b, PB4 = c, PB5 = d
  GPIO_InitStruct.Pin = GPIO_PIN_10 | GPIO_PIN_4 | GPIO_PIN_5;
  HAL_GPIO_Init(GPIOB, &GPIO_InitStruct);

  // PA10 = f, PA0 = g, PA1 = dp
  GPIO_InitStruct.Pin = GPIO_PIN_10 | GPIO_PIN_0 | GPIO_PIN_1;
  HAL_GPIO_Init(GPIOA, &GPIO_InitStruct);

  Display7Seg_Clear();
  /* USER CODE END MX_GPIO_Init_2 */
}

/* USER CODE BEGIN 4 */
// Callback de recepción UART
void HAL_UART_RxCpltCallback(UART_HandleTypeDef *huart)
{
    if (huart->Instance == USART2) // Terminal para pruebas
    {
    	ctrl_cmd2 = rx_data2;

        //HAL_UART_Transmit(&huart2, &rx_data, 1, 100);

        HAL_UART_Receive_IT(&huart2, &rx_data2, 1);

    }
}

// Reactiva la escucha I2C
void HAL_I2C_ListenCpltCallback(I2C_HandleTypeDef *hi2c){
	HAL_I2C_EnableListen_IT(hi2c);
}

// Atiende la comunicación del maestro I2C
void HAL_I2C_AddrCallback(I2C_HandleTypeDef *hi2c, uint8_t TransferDirection,
                          uint16_t AddrMatchCode)
{
    if (hi2c->Instance == I2C1)
    {
        if (TransferDirection == I2C_DIRECTION_TRANSMIT)
        {
            if (HAL_I2C_Slave_Seq_Receive_IT(hi2c, aRxBuffer, 1,
                                             I2C_FIRST_AND_LAST_FRAME) != HAL_OK)
            {
                HAL_I2C_EnableListen_IT(hi2c);
            }
        }
        else if (TransferDirection == I2C_DIRECTION_RECEIVE)
        {
            if (HAL_I2C_Slave_Seq_Transmit_IT(hi2c, aTxBuffer, 1,
                                              I2C_FIRST_AND_LAST_FRAME) != HAL_OK)
            {
                HAL_I2C_EnableListen_IT(hi2c);
            }
        }
    }
}

// Callback al terminar transmisión I2C
void HAL_I2C_SlaveTxCpltCallback(I2C_HandleTypeDef *I2cHandle)
{
    //aTxBuffer[0] = sensor_state;
}

// Guarda el dato recibido por I2C
void HAL_I2C_SlaveRxCpltCallback(I2C_HandleTypeDef *I2cHandle)
{
    if (I2cHandle->Instance == I2C1)
    {
        sensor_byte_rx = aRxBuffer[0];
        i2c_rx_flag = 1;
    }
}

// Recupera I2C si ocurre error
void HAL_I2C_ErrorCallback(I2C_HandleTypeDef *I2cHandle)
{
    uint32_t error = HAL_I2C_GetError(I2cHandle);

    if (I2cHandle->Instance == I2C1)
    {
        HAL_I2C_DisableListen_IT(I2cHandle);
        HAL_I2C_DeInit(I2cHandle);
        HAL_I2C_Init(I2cHandle);
        HAL_I2C_EnableListen_IT(I2cHandle);
    }
}
/* USER CODE END 4 */

void Error_Handler(void)
{
  __disable_irq();
  while (1)
  {
  }
}
